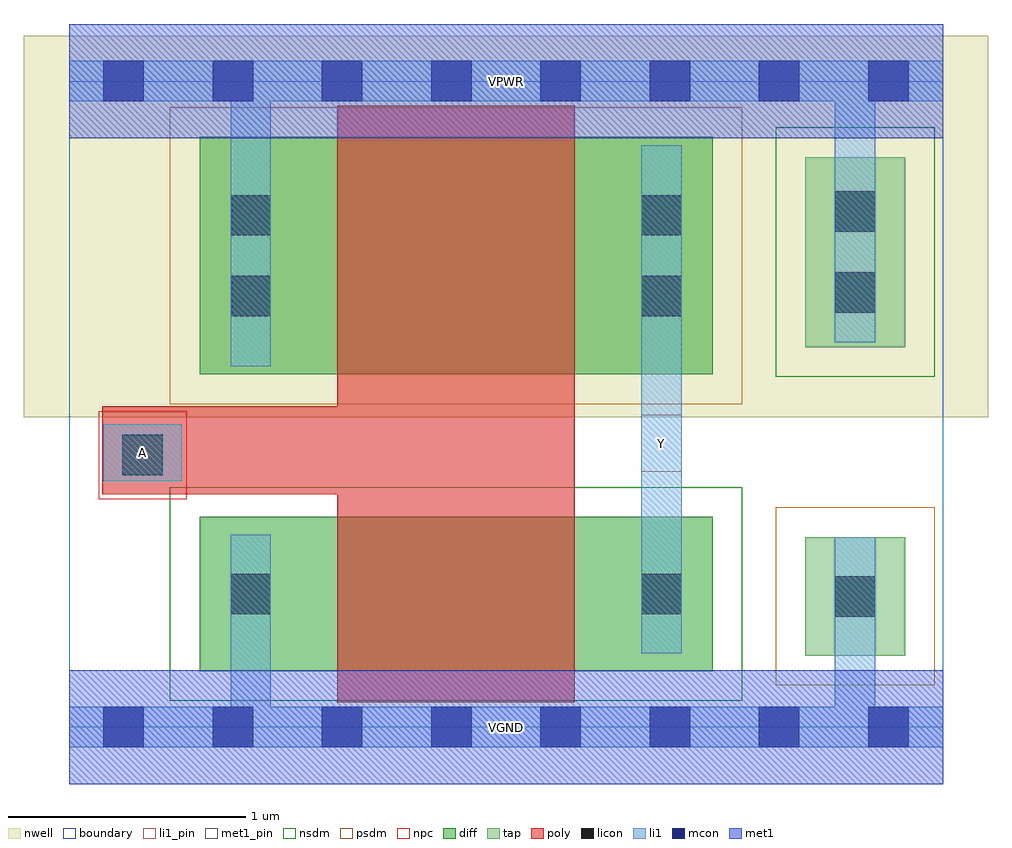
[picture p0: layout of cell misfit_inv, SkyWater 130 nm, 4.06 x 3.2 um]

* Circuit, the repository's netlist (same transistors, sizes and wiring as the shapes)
* NGSPICE file created from misfit_inv.ext - technology: sky130A

.subckt misfit_inv A Y VGND VPWR
X0 Y A VGND VGND sky130_fd_pr__nfet_01v8 ad=0.377 pd=2.46 as=0.377 ps=2.46 w=0.65 l=1
X1 Y A VPWR VPWR sky130_fd_pr__pfet_01v8 ad=0.58 pd=3.16 as=0.58 ps=3.16 w=1 l=1
.ends

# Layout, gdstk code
import gdstk
lib = gdstk.Library(unit=1e-6, precision=1e-09)
def R(c, l, rs):  # rectangles x0, y0, x1, y1
    for r in rs: c.add(gdstk.rectangle(r[:2], r[2:], *l))
def A(c, l, x, y, w, h, nx, ny, dx, dy):  # array of equal rectangles
    R(c, l, [(x+i*dx, y+j*dy, x+i*dx+w, y+j*dy+h) for i in range(nx) for j in range(ny)])
nwell = (64, 20)
diff = (65, 20)
tap = (65, 44)
poly = (66, 20)
licon = (66, 44)
li1_pin = (67, 16)
li1 = (67, 20)
mcon = (67, 44)
met1_pin = (68, 16)
met1 = (68, 20)
nsdm = (93, 44)
psdm = (94, 20)
npc = (95, 20)
boundary = (235, 4)

misfit_inv = lib.new_cell('misfit_inv')
R(misfit_inv, nwell, [(-0.19,1.305,3.87,2.91)])
R(misfit_inv, diff, [(0.55,0.235,2.71,0.885), (0.55,1.485,2.71,2.485)])
R(misfit_inv, tap, [(3.1,0.3,3.52,0.8), (3.1,1.6,3.52,2.4)])
R(misfit_inv, poly, [(1.13,0.105,2.13,0.98), (0.14,0.98,2.13,1.35), (1.13,1.35,2.13,2.615)])
R(misfit_inv, licon, [(3.225,0.465,3.395,0.635), (0.68,0.475,0.85,0.645), (2.41,0.475,2.58,0.645), (0.225,1.06,0.395,1.23), (0.68,1.73,0.85,1.9), (2.41,1.73,2.58,1.9), (3.225,1.745,3.395,1.915), (0.68,2.07,0.85,2.24), (2.41,2.07,2.58,2.24), (3.225,2.085,3.395,2.255)])
R(misfit_inv, li1_pin, [(0.145,1.035,0.475,1.275), (2.41,1.075,2.58,1.315)])
R(misfit_inv, li1, [(0,-0.085,3.68,0.085), (0.68,0.085,0.85,0.81), (3.225,0.085,3.395,0.8), (2.41,0.31,2.58,2.45), (0.145,1.035,0.475,1.275), (0.68,1.52,0.85,2.635), (3.225,1.62,3.395,2.635), (0,2.635,3.68,2.805)])
A(misfit_inv, mcon, 0.145, -0.085, 0.17, 0.17, 8, 2, 0.46, 2.72)
R(misfit_inv, met1_pin, [(0,-0.24,3.68,0.24), (0,2.48,3.68,2.96)])
R(misfit_inv, met1, [(0,-0.24,3.68,0.24), (0,2.48,3.68,2.96)])
R(misfit_inv, nsdm, [(0.425,0.11,2.835,1.01), (2.975,1.475,3.645,2.525)])
R(misfit_inv, psdm, [(2.975,0.175,3.645,0.925), (0.425,1.36,2.835,2.61)])
R(misfit_inv, npc, [(0.125,0.96,0.495,1.33)])
R(misfit_inv, boundary, [(0,0,3.68,2.72)])
misfit_inv.add(gdstk.Label('A', (0.31,1.155), layer=67, texttype=5))
misfit_inv.add(gdstk.Label('Y', (2.495,1.195), layer=67, texttype=5))
misfit_inv.add(gdstk.Label('VGND', (1.84,0), layer=68, texttype=5))
misfit_inv.add(gdstk.Label('VPWR', (1.84,2.72), layer=68, texttype=5))

lib.write_gds('misfit_inv.gds')
